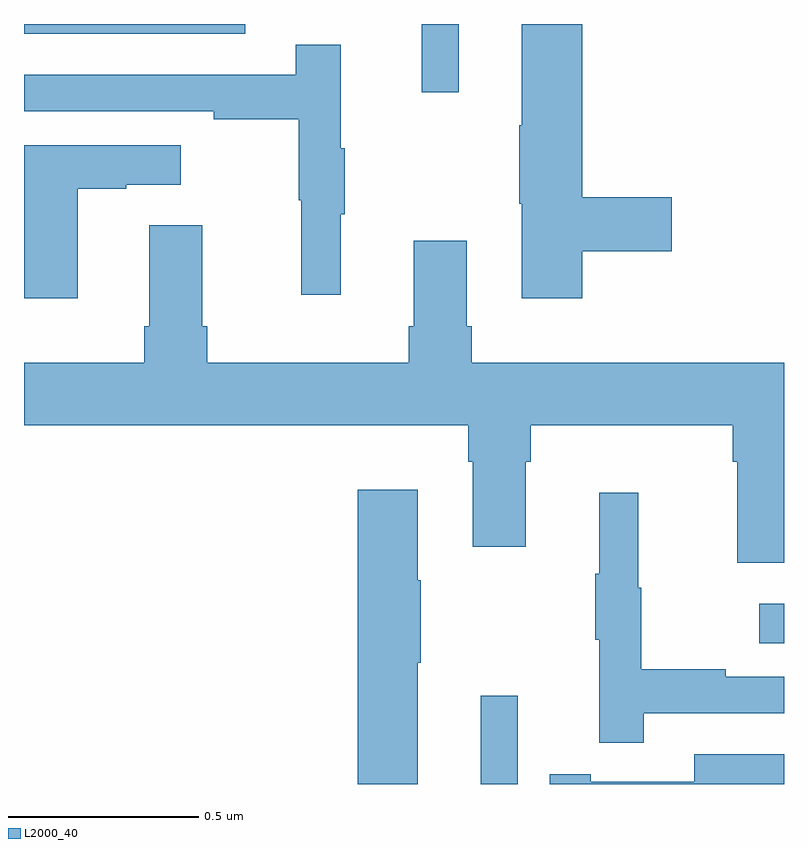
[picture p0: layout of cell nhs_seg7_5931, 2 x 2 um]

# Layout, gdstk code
import gdstk
lib = gdstk.Library(unit=1e-6, precision=1e-09)
def R(c, l, rs):  # rectangles x0, y0, x1, y1
    for r in rs: c.add(gdstk.rectangle(r[:2], r[2:], *l))
def P(c, l, *ps):  # polygons
    for p in ps: c.add(gdstk.Polygon(p, *l))
L2000_40 = (2000, 40)

nhs_seg7_5931 = lib.new_cell('nhs_seg7_5931')
R(nhs_seg7_5931, L2000_40, [(193.202,1005,193.299,1005.232), (193.935,1005.371,194,1005.475), (193.047,1006.821,193.144,1007), (192,1006.974,192.582,1007)])
P(nhs_seg7_5931, L2000_40, [(193.469,1006.402),(193.705,1006.402),(193.705,1006.544),(193.469,1006.544),(193.469,1007),(193.31,1007),(193.31,1006.733),(193.303,1006.733),(193.303,1006.527),(193.31,1006.527),(193.31,1006.278),(193.469,1006.278)],
  [(192.833,1006.499),(192.844,1006.499),(192.844,1006.673),(192.833,1006.673),(192.833,1006.945),(192.715,1006.945),(192.715,1006.866),(192,1006.866),(192,1006.77),(192.499,1006.77),(192.499,1006.75),(192.723,1006.75),(192.723,1006.536),(192.73,1006.536),(192.73,1006.287),(192.833,1006.287)],
  [(192.142,1006.567),(192.269,1006.567),(192.269,1006.577),(192.412,1006.577),(192.412,1006.681),(192,1006.681),(192,1006.278),(192.142,1006.278)],
  [(193.178,1006.204),(193.165,1006.204),(193.165,1006.429),(193.025,1006.429),(193.025,1006.204),(193.013,1006.204),(193.013,1006.108),(192.482,1006.108),(192.482,1006.204),(192.469,1006.204),(192.469,1006.471),(192.329,1006.471),(192.329,1006.204),(192.317,1006.204),(192.317,1006.108),(192,1006.108),(192,1005.944),(193.169,1005.944),(193.169,1005.848),(193.181,1005.848),(193.181,1005.624),(193.321,1005.624),(193.321,1005.848),(193.334,1005.848),(193.334,1005.944),(193.865,1005.944),(193.865,1005.848),(193.877,1005.848),(193.877,1005.582),(194,1005.582),(194,1006.108),(193.178,1006.108)],
  [(193.036,1005.319),(193.044,1005.319),(193.044,1005.536),(193.036,1005.536),(193.036,1005.775),(192.878,1005.775),(192.878,1005),(193.036,1005)],
  [(193.631,1005.186),(194,1005.186),(194,1005.282),(193.847,1005.282),(193.847,1005.302),(193.624,1005.302),(193.624,1005.516),(193.616,1005.516),(193.616,1005.766),(193.514,1005.766),(193.514,1005.553),(193.503,1005.553),(193.503,1005.379),(193.514,1005.379),(193.514,1005.108),(193.631,1005.108)],
  [(194,1005.078),(193.764,1005.078),(193.764,1005.006),(193.492,1005.006),(193.492,1005.026),(193.384,1005.026),(193.384,1005),(194,1005)])

lib.write_gds('nhs_seg7_5931.gds')
